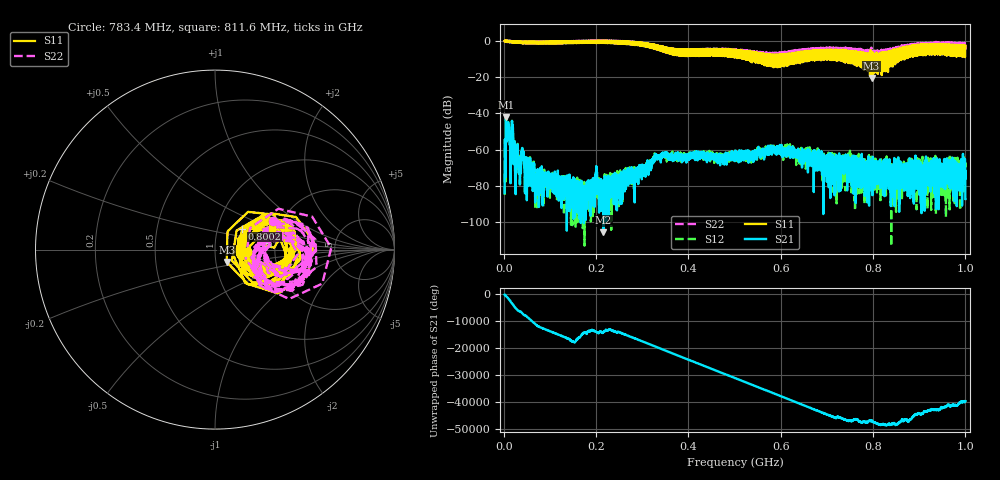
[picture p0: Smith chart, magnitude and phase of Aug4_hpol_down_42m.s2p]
!Keysight Technologies N9923A: A.12.45
!Date: Tuesday, 05 August 2025 19:07:15
!Timezone: (UTC+08:00) Kuala Lumpur, Singapore
!Model: N9923A
!Serial: MY61181427
!GPS Latitude:
!GPS Longitude:
!GPS TimeStamp: 0001-01-01 00:00:00Z
!GPS Seconds Since Last Read: 0
!CHECKSUM:0701625431
!Correction: S11(ON U)S21(ON U)S12(ON U)S22(ON U)
!S2P File: Measurements:S11,S21,S12,S22:
# Hz S DB R 50
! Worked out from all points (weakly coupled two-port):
!   4001 points, 2 MHz to 1 GHz, reference 50 ohm
!   highest |S21| = -42.11 dB at 4.994 MHz (marker M1); lowest = -105.5 dB at 215.8 MHz (marker M2)
!   lowest |S11| = -20.5 dB at 796.9 MHz (marker M3), VSWR 1.21, Z = 56.4 - j7.82 ohm
!   |S11| at or under -10 dB: 575.8128 MHz to 576.5992 MHz (786.4 kHz wide, 0.136 % of centre); 582.5513 MHz to 583.3468 MHz (795.6 kHz wide, 0.136 % of centre); 589.3031 MHz to 590.1061 MHz (803 kHz wide, 0.136 % of centre)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
!   |S22| runs from -14.9 to 0.2 dB; largest |S21 - S12| = 0.001
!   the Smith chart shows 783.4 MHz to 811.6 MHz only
!   S11 on the Smith chart (normalised r, x): 783.4 MHz: 1.43, -0.05; 800.2 MHz: 1.31, +0.32; 811.6 MHz: 1.85, +0.51
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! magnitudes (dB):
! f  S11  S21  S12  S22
! 2 MHz  -0.1  -83.8  -84.7  -0.1
! 4.994 MHz  0.1  -42.1  -42.1  0.1
! 7.489 MHz  -0.6  -49.3  -49.1  -0.7
! 14.72 MHz  -0.2  -60.5  -60.8  -0.1
! 29.2 MHz  -1.0  -60.9  -60.3  -1.1
! 61.13 MHz  -1.3  -67.9  -68.0  -1.3
! 72.36 MHz  -0.9  -80.5  -77.6  -0.8
! 168.4 MHz  -1.2  -77.0  -99.5  -1.0
! 215.8 MHz  -0.7  -105.5  -77.8  -0.7
! 288.2 MHz  -1.1  -71.6  -73.8  -1.3
! 334.8 MHz  -3.8  -64.3  -64.4  -4.5
! 501 MHz  -5.7  -62.6  -64.1  -6.5
! 583.3 MHz  -10.1  -60.6  -61.2  -12.3
! 667.4 MHz  -8.7  -64.3  -61.7  -8.7
! 783.4 MHz  -15.1  -69.0  -69.5  -8.8
! 796.9 MHz  -20.5  -75.1  -67.1  -7.5
! 800.2 MHz  -14.4  -73.4  -67.6  -6.4
! 811.6 MHz  -9.3  -69.9  -68.2  -5.6
! 833.8 MHz  -10.6  -72.0  -72.1  -5.4
! 890.2 MHz  -3.4  -77.5  -66.5  -5.7
! 994 MHz  -8.8  -81.5  -70.5  -2.9
! 1 GHz  -2.6  -87.1  -71.2  -2.4
